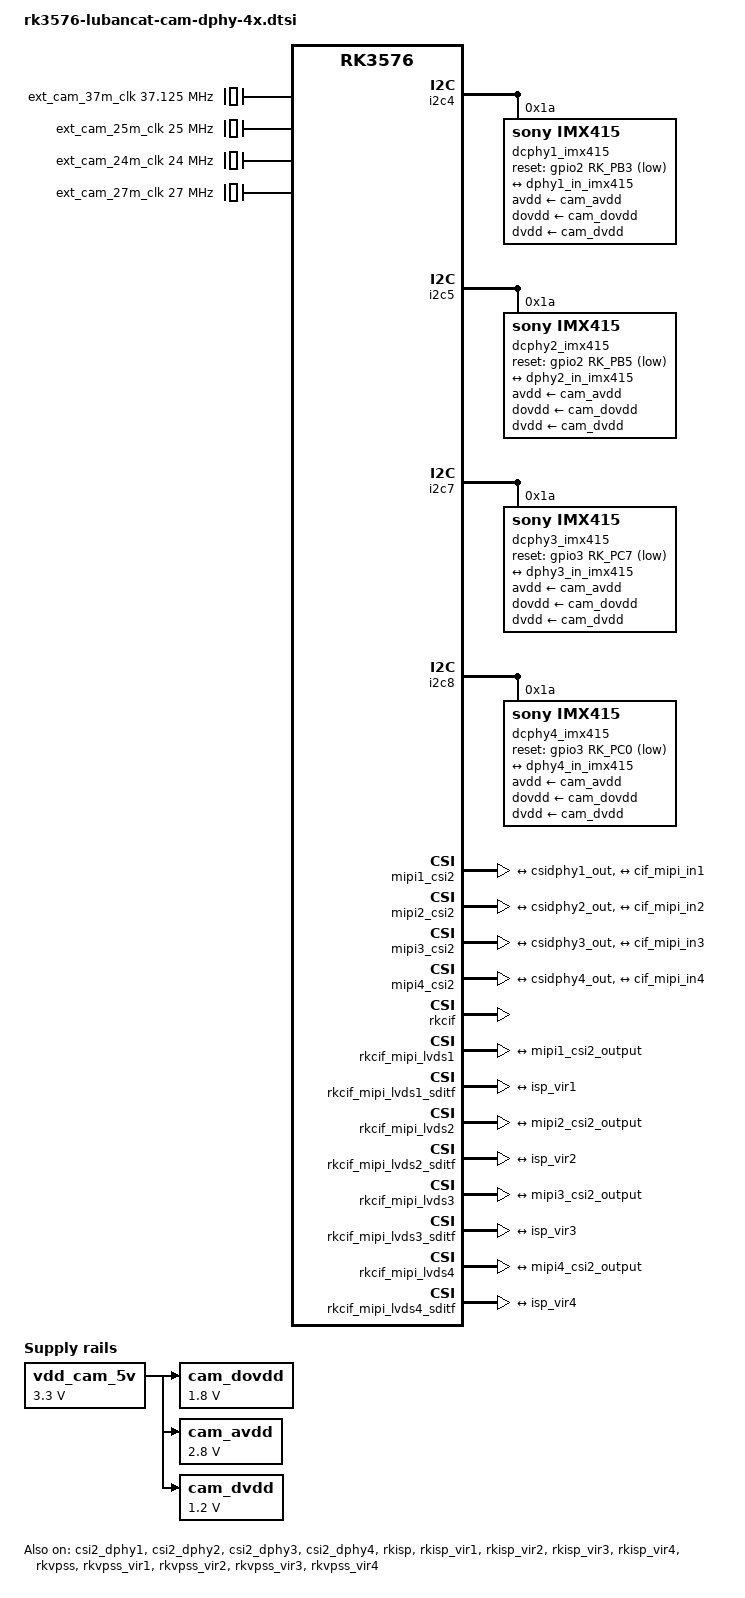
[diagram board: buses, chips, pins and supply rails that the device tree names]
// SPDX-License-Identifier: (GPL-2.0+ OR MIT)
/*
 * Copyright (c) 2024 Rockchip Electronics Co., Ltd.
 * Copyright (c) 2024 EmbedFire <embedfire@embedfire.com>
 *
 */

/ {
	ext_cam_37m_clk: external-camera-37m-clock {
		compatible = "fixed-clock";
		clock-frequency = <37125000>;
		clock-output-names = "ext_cam_37m_clk";
		#clock-cells = <0>;
	};

	ext_cam_25m_clk: external-camera-25m-clock {
		compatible = "fixed-clock";
		clock-frequency = <25000000>;
		clock-output-names = "ext_cam_25m_clk";
		#clock-cells = <0>;
	};

	ext_cam_24m_clk: external-camera-24m-clock {
		compatible = "fixed-clock";
		#clock-cells = <0>;
		clock-frequency = <24000000>;
		clock-output-names = "ext_cam_24m_clk";
	};

	ext_cam_27m_clk: external-camera-27m-clock {
		compatible = "fixed-clock";
		#clock-cells = <0>;
		clock-frequency = <27000000>;
		clock-output-names = "ext_cam_27m_clk";
	};

	vdd_cam_5v: vdd-cam-5v-regulator {
		compatible = "regulator-fixed";
		regulator-name = "vdd_cam_5v";
		regulator-always-on;
		regulator-boot-on;
		regulator-min-microvolt = <3300000>;
		regulator-max-microvolt = <3300000>;
	};

	cam_dovdd: cam-dovdd {
		compatible = "regulator-fixed";
		regulator-name = "cam_dovdd";
		regulator-always-on;
		regulator-boot-on;
		regulator-min-microvolt = <1800000>;
		regulator-max-microvolt = <1800000>;
		vin-supply = <&vdd_cam_5v>;
	};

	cam_avdd: cam-avdd {
		compatible = "regulator-fixed";
		regulator-name = "cam_avdd";
		regulator-always-on;
		regulator-boot-on;
		regulator-min-microvolt = <2800000>;
		regulator-max-microvolt = <2800000>;
		vin-supply = <&vdd_cam_5v>;
	};

	cam_dvdd: cam-dvdd {
		compatible = "regulator-fixed";
		regulator-name = "cam_dvdd";
		regulator-always-on;
		regulator-boot-on;
		regulator-min-microvolt = <1200000>;
		regulator-max-microvolt = <1200000>;
		vin-supply = <&vdd_cam_5v>;
	};
};

// CAM 1
&csi2_dphy1 {
	status = "okay";

	ports {
		#address-cells = <1>;
		#size-cells = <0>;
		port@0 {
			reg = <0>;
			#address-cells = <1>;
			#size-cells = <0>;

			dphy1_in_imx415: endpoint@1 {
				reg = <1>;
				remote-endpoint = <&imx415_dphy1_out>;
				data-lanes = <1 2>;
			};
		};
		port@1 {
			reg = <1>;
			#address-cells = <1>;
			#size-cells = <0>;

			csidphy1_out: endpoint@0 {
				reg = <0>;
				remote-endpoint = <&mipi1_csi2_input>;
			};
		};
	};
};

&csi2_dphy2 {
	status = "okay";

	ports {
		#address-cells = <1>;
		#size-cells = <0>;
		port@0 {
			reg = <0>;
			#address-cells = <1>;
			#size-cells = <0>;

			dphy2_in_imx415: endpoint@1 {
				reg = <1>;
				remote-endpoint = <&imx415_dphy2_out>;
				data-lanes = <1 2>;
			};
		};
		port@1 {
			reg = <1>;
			#address-cells = <1>;
			#size-cells = <0>;

			csidphy2_out: endpoint@0 {
				reg = <0>;
				remote-endpoint = <&mipi2_csi2_input>;
			};
		};
	};
};

&csi2_dphy3 {
	status = "okay";

	ports {
		#address-cells = <1>;
		#size-cells = <0>;
		port@0 {
			reg = <0>;
			#address-cells = <1>;
			#size-cells = <0>;

			dphy3_in_imx415: endpoint@1 {
				reg = <1>;
				remote-endpoint = <&imx415_dphy3_out>;
				data-lanes = <1 2>;
			};
		};
		port@1 {
			reg = <1>;
			#address-cells = <1>;
			#size-cells = <0>;

			csidphy3_out: endpoint@0 {
				reg = <0>;
				remote-endpoint = <&mipi3_csi2_input>;
			};
		};
	};
};

&csi2_dphy4 {
	status = "okay";

	ports {
		#address-cells = <1>;
		#size-cells = <0>;
		port@0 {
			reg = <0>;
			#address-cells = <1>;
			#size-cells = <0>;

			dphy4_in_imx415: endpoint@1 {
				reg = <1>;
				remote-endpoint = <&imx415_dphy4_out>;
				data-lanes = <1 2>;
			};
		};
		port@1 {
			reg = <1>;
			#address-cells = <1>;
			#size-cells = <0>;

			csidphy4_out: endpoint@0 {
				reg = <0>;
				remote-endpoint = <&mipi4_csi2_input>;
			};
		};
	};
};

// CAM 1
&i2c4 {
	status = "okay";
	pinctrl-0 = <&i2c4m2_xfer>;

	dcphy1_imx415: dcphy1-imx415@1a {
		compatible = "sony,imx415";
		status = "okay";
		reg = <0x1a>;
		clocks = <&ext_cam_37m_clk>;
		clock-names = "xvclk";
		power-domains = <&power RK3576_PD_VI>;
		avdd-supply = <&cam_avdd>;
		dovdd-supply = <&cam_dovdd>;
		dvdd-supply = <&cam_dvdd>;
		reset-gpios = <&gpio2 RK_PB3 GPIO_ACTIVE_LOW>;

		rockchip,camera-module-index = <0>;
		rockchip,camera-module-facing = "back";
		rockchip,camera-module-name = "CMK-OT2022-PX1";
		rockchip,camera-module-lens-name = "IR0147-50IRC-8M-F20";
		// NO_HDR:0 HDR_X2:5 HDR_X3:6
		// rockchip,camera-hdr-mode = <0>;
		port {
			imx415_dphy1_out: endpoint {
				remote-endpoint = <&dphy1_in_imx415>;
				data-lanes = <1 2>;
			};
		};
	};
};

// CAM 2
&i2c5 {
	status = "okay";
	pinctrl-0 = <&i2c5m3_xfer>;

	dcphy2_imx415: dcphy2-imx415@1a {
		compatible = "sony,imx415";
		status = "okay";
		reg = <0x1a>;
		clocks = <&ext_cam_37m_clk>;
		clock-names = "xvclk";
		power-domains = <&power RK3576_PD_VI>;
		avdd-supply = <&cam_avdd>;
		dovdd-supply = <&cam_dovdd>;
		dvdd-supply = <&cam_dvdd>;
		reset-gpios = <&gpio2 RK_PB5 GPIO_ACTIVE_LOW>;

		rockchip,camera-module-index = <0>;
		rockchip,camera-module-facing = "back";
		rockchip,camera-module-name = "CMK-OT2022-PX1";
		rockchip,camera-module-lens-name = "IR0147-50IRC-8M-F20";
		// NO_HDR:0 HDR_X2:5 HDR_X3:6
		// rockchip,camera-hdr-mode = <0>;
		port {
			imx415_dphy2_out: endpoint {
				remote-endpoint = <&dphy2_in_imx415>;
				data-lanes = <1 2>;
			};
		};
	};
};

// CAM 3
&i2c7 {
	status = "okay";
	pinctrl-0 = <&i2c7m1_xfer>;

	dcphy3_imx415: dcphy3-imx415@1a {
		compatible = "sony,imx415";
		status = "okay";
		reg = <0x1a>;
		clocks = <&ext_cam_37m_clk>;
		clock-names = "xvclk";
		power-domains = <&power RK3576_PD_VI>;
		avdd-supply = <&cam_avdd>;
		dovdd-supply = <&cam_dovdd>;
		dvdd-supply = <&cam_dvdd>;
		reset-gpios = <&gpio3 RK_PC7 GPIO_ACTIVE_LOW>;

		rockchip,camera-module-index = <0>;
		rockchip,camera-module-facing = "back";
		rockchip,camera-module-name = "CMK-OT2022-PX1";
		rockchip,camera-module-lens-name = "IR0147-50IRC-8M-F20";
		// NO_HDR:0 HDR_X2:5 HDR_X3:6
		// rockchip,camera-hdr-mode = <0>;
		port {
			imx415_dphy3_out: endpoint {
				remote-endpoint = <&dphy3_in_imx415>;
				data-lanes = <1 2>;
			};
		};
	};
};

// CAM 4
&i2c8 {
	status = "okay";
	pinctrl-0 = <&i2c8m2_xfer>;

	dcphy4_imx415: dcphy4-imx415@1a {
		compatible = "sony,imx415";
		status = "okay";
		reg = <0x1a>;
		clocks = <&ext_cam_37m_clk>;
		clock-names = "xvclk";
		power-domains = <&power RK3576_PD_VI>;
		avdd-supply = <&cam_avdd>;
		dovdd-supply = <&cam_dovdd>;
		dvdd-supply = <&cam_dvdd>;
		reset-gpios = <&gpio3 RK_PC0 GPIO_ACTIVE_LOW>;

		rockchip,camera-module-index = <0>;
		rockchip,camera-module-facing = "back";
		rockchip,camera-module-name = "CMK-OT2022-PX1";
		rockchip,camera-module-lens-name = "IR0147-50IRC-8M-F20";
		// NO_HDR:0 HDR_X2:5 HDR_X3:6
		// rockchip,camera-hdr-mode = <0>;
		port {
			imx415_dphy4_out: endpoint {
				remote-endpoint = <&dphy4_in_imx415>;
				data-lanes = <1 2>;
			};
		};
	};
};

&mipi1_csi2 {
	status = "okay";

	ports {
		#address-cells = <1>;
		#size-cells = <0>;

		port@0 {
			reg = <0>;
			#address-cells = <1>;
			#size-cells = <0>;

			mipi1_csi2_input: endpoint@1 {
				reg = <1>;
				remote-endpoint = <&csidphy1_out>;
			};
		};

		port@1 {
			reg = <1>;
			#address-cells = <1>;
			#size-cells = <0>;

			mipi1_csi2_output: endpoint@0 {
				reg = <0>;
				remote-endpoint = <&cif_mipi_in1>;
			};
		};
	};
};

&mipi2_csi2 {
	status = "okay";

	ports {
		#address-cells = <1>;
		#size-cells = <0>;

		port@0 {
			reg = <0>;
			#address-cells = <1>;
			#size-cells = <0>;

			mipi2_csi2_input: endpoint@1 {
				reg = <1>;
				remote-endpoint = <&csidphy2_out>;
			};
		};

		port@1 {
			reg = <1>;
			#address-cells = <1>;
			#size-cells = <0>;

			mipi2_csi2_output: endpoint@0 {
				reg = <0>;
				remote-endpoint = <&cif_mipi_in2>;
			};
		};
	};
};

&mipi3_csi2 {
	status = "okay";

	ports {
		#address-cells = <1>;
		#size-cells = <0>;

		port@0 {
			reg = <0>;
			#address-cells = <1>;
			#size-cells = <0>;

			mipi3_csi2_input: endpoint@1 {
				reg = <1>;
				remote-endpoint = <&csidphy3_out>;
			};
		};

		port@1 {
			reg = <1>;
			#address-cells = <1>;
			#size-cells = <0>;

			mipi3_csi2_output: endpoint@0 {
				reg = <0>;
				remote-endpoint = <&cif_mipi_in3>;
			};
		};
	};
};

&mipi4_csi2 {
	status = "okay";

	ports {
		#address-cells = <1>;
		#size-cells = <0>;

		port@0 {
			reg = <0>;
			#address-cells = <1>;
			#size-cells = <0>;

			mipi4_csi2_input: endpoint@1 {
				reg = <1>;
				remote-endpoint = <&csidphy4_out>;
			};
		};

		port@1 {
			reg = <1>;
			#address-cells = <1>;
			#size-cells = <0>;

			mipi4_csi2_output: endpoint@0 {
				reg = <0>;
				remote-endpoint = <&cif_mipi_in4>;
			};
		};
	};
};

&rkcif {
	status = "okay";
};

&rkcif_mipi_lvds1 {
	status = "okay";

	port {
		cif_mipi_in1: endpoint {
			remote-endpoint = <&mipi1_csi2_output>;
		};
	};
};

&rkcif_mipi_lvds1_sditf {
	status = "okay";

	port {
		mipi1_lvds_sditf: endpoint {
			remote-endpoint = <&isp_vir1>;
		};
	};
};

&rkcif_mipi_lvds2 {
	status = "okay";

	port {
		cif_mipi_in2: endpoint {
			remote-endpoint = <&mipi2_csi2_output>;
		};
	};
};

&rkcif_mipi_lvds2_sditf {
	status = "okay";

	port {
		mipi2_lvds_sditf: endpoint {
			remote-endpoint = <&isp_vir2>;
		};
	};
};

&rkcif_mipi_lvds3 {
	status = "okay";

	port {
		cif_mipi_in3: endpoint {
			remote-endpoint = <&mipi3_csi2_output>;
		};
	};
};

&rkcif_mipi_lvds3_sditf {
	status = "okay";

	port {
		mipi3_lvds_sditf: endpoint {
			remote-endpoint = <&isp_vir3>;
		};
	};
};

&rkcif_mipi_lvds4 {
	status = "okay";

	port {
		cif_mipi_in4: endpoint {
			remote-endpoint = <&mipi4_csi2_output>;
		};
	};
};

&rkcif_mipi_lvds4_sditf {
	status = "okay";

	port {
		mipi4_lvds_sditf: endpoint {
			remote-endpoint = <&isp_vir4>;
		};
	};
};

&rkcif_mmu {
	status = "okay";
};

&rkisp {
	status = "okay";
};

&rkisp_mmu {
	status = "okay";
};

&rkisp_vir1 {
	status = "okay";

	port {
		#address-cells = <1>;
		#size-cells = <0>;

		isp_vir1: endpoint@0 {
			reg = <0>;
			remote-endpoint = <&mipi1_lvds_sditf>;
		};
	};
};

&rkisp_vir2 {
	status = "okay";

	port {
		#address-cells = <1>;
		#size-cells = <0>;

		isp_vir2: endpoint@0 {
			reg = <0>;
			remote-endpoint = <&mipi2_lvds_sditf>;
		};
	};
};

&rkisp_vir3 {
	status = "okay";

	port {
		#address-cells = <1>;
		#size-cells = <0>;

		isp_vir3: endpoint@0 {
			reg = <0>;
			remote-endpoint = <&mipi3_lvds_sditf>;
		};
	};
};

&rkisp_vir4 {
	status = "okay";

	port {
		#address-cells = <1>;
		#size-cells = <0>;

		isp_vir4: endpoint@0 {
			reg = <0>;
			remote-endpoint = <&mipi4_lvds_sditf>;
		};
	};
};

&rkvpss {
	status = "okay";
};

&rkvpss_mmu {
	status = "okay";
};


&rkvpss_vir1 {
	status = "okay";
};

&rkvpss_vir2 {
	status = "okay";
};

&rkvpss_vir3 {
	status = "okay";
};

&rkvpss_vir4 {
	status = "okay";
};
